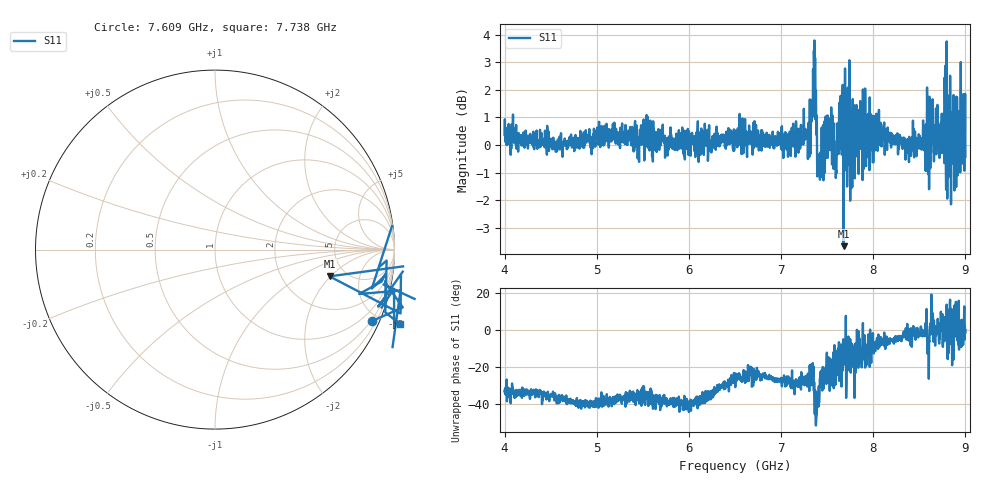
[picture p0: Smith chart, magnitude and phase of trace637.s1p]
! Created with skrf 1.8.0 (http://scikit-rf.org).
# Hz S RI R 50.0
!freq ReS11 ImS11
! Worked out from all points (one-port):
!   1601 points, 4 GHz to 9 GHz, reference 50 ohm
!   lowest |S11| = -3.7 dB at 7.678 GHz (marker M1), VSWR 4.81, Z = 186 - j97.5 ohm
!   |S11| at or under -10 dB: nowhere
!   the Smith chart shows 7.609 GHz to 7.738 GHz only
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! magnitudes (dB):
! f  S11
! 4 GHz  0.4
! 4.625 GHz  -0.3
! 5.25 GHz  -0.1
! 5.566 GHz  0.4
! 5.753 GHz  -0.4
! 5.875 GHz  -0.2
! 6.5 GHz  0.0
! 7.125 GHz  0.1
! 7.294 GHz  0.3
! 7.328 GHz  1.4
! 7.347 GHz  2.7
! 7.372 GHz  2.4
! 7.4 GHz  -0.7
! 7.416 GHz  -0.7
! 7.525 GHz  0.9
! 7.603 GHz  -0.4
! 7.647 GHz  1.8
! 7.678 GHz  -3.7
! 7.75 GHz  -2.0
! 7.775 GHz  1.1
! 7.834 GHz  1.3
! 8.05 GHz  0.5
! 8.375 GHz  -0.2
! 8.725 GHz  0.7
! 8.775 GHz  2.4
! 8.869 GHz  -0.6
! 8.972 GHz  1.0
! 9 GHz  -0.4
